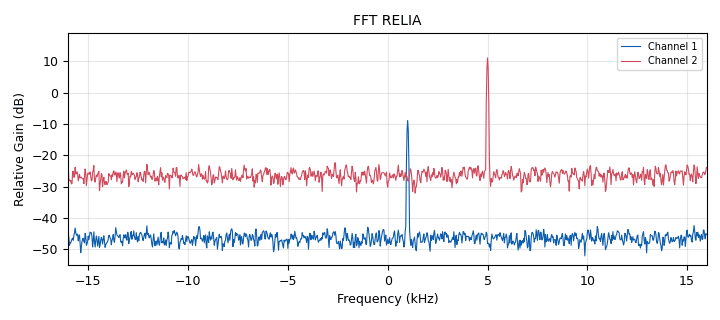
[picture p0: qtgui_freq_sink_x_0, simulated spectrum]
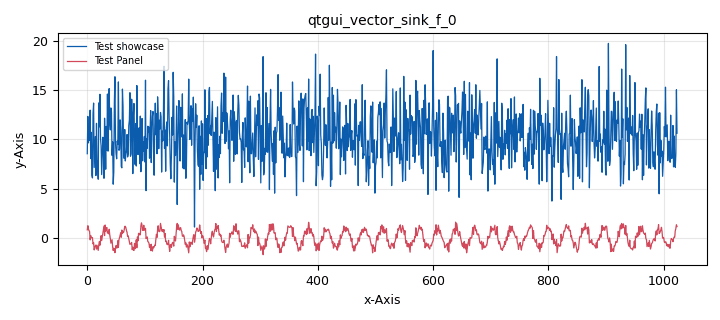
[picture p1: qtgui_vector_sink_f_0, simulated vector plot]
options:
  parameters:
    author: marcos
    generate_options: qt_gui
    id: default
    output_language: python
    title: Not titled yet
  states: {}

blocks:
- name: samp_rate
  id: variable
  parameters:
    value: '32000'
  states: {}
- name: analog_noise_source_x_0
  id: analog_noise_source_x
  parameters:
    amp: '.4'
    noise_type: analog.GR_GAUSSIAN
    seed: '0'
    type: complex
  states: {}
- name: analog_sig_source_x_0
  id: analog_sig_source_x
  parameters:
    amp: '1'
    freq: '1000'
    offset: '0'
    phase: '0'
    samp_rate: samp_rate
    type: complex
    waveform: analog.GR_COS_WAVE
  states: {}
- name: analog_sig_source_x_1
  id: analog_sig_source_x
  parameters:
    amp: '1'
    freq: '5000'
    offset: '0'
    phase: '0'
    samp_rate: samp_rate
    type: complex
    waveform: analog.GR_COS_WAVE
  states: {}
- name: blocks_add_xx_0
  id: blocks_add_xx
  parameters:
    type: complex
  states: {}
- name: blocks_add_xx_0_0
  id: blocks_add_xx
  parameters:
    type: complex
  states: {}
- name: blocks_complex_to_float_0
  id: blocks_complex_to_float
  parameters: {}
  states: {}
- name: blocks_complex_to_mag_0
  id: blocks_complex_to_mag
  parameters: {}
  states: {}
- name: blocks_delay_0
  id: blocks_delay
  parameters:
    delay: '45'
    type: complex
  states: {}
- name: blocks_delay_0_0
  id: blocks_delay
  parameters:
    delay: '180'
    type: complex
  states: {}
- name: blocks_multiply_const_vxx_0
  id: blocks_multiply_const_vxx
  parameters:
    const: '10'
    type: complex
  states: {}
- name: blocks_stream_to_vector_0
  id: blocks_stream_to_vector
  parameters:
    num_items: '1024'
    type: float
  states: {}
- name: blocks_stream_to_vector_0_0
  id: blocks_stream_to_vector
  parameters:
    num_items: '1024'
    type: float
  states: {}
- name: blocks_throttle_0
  id: blocks_throttle
  parameters:
    samples_per_second: samp_rate
    type: complex
  states: {}
- name: blocks_throttle_0_0
  id: blocks_throttle
  parameters:
    samples_per_second: samp_rate
    type: complex
  states: {}
- name: qtgui_const_sink_x_0
  id: qtgui_const_sink_x
  parameters:
    autoscale: 'True'
    grid: 'True'
    label1: signal 1
    label2: signal 2
    nconnections: '2'
    size: '1024'
    type: complex
  states: {state: disabled}
- name: qtgui_freq_sink_x_0
  id: qtgui_freq_sink_x
  parameters:
    autoscale: 'True'
    average: '0.1'
    bw: samp_rate
    color1: '"dark blue"'
    fc: '0'
    fftsize: '1024'
    label1: Channel 1
    label2: Channel 2
    name: FFT RELIA
    nconnections: '2'
    type: complex
    ymax: '80'
    ymin: '-10'
  states: {}
- name: qtgui_time_sink_x_0
  id: qtgui_time_sink_x
  parameters:
    autoscale: 'True'
    color1: green
    color2: dark blue
    color3: blue
    color4: red
    color5: dark green
    grid: 'True'
    label1: Signal 1 - I
    label2: Signal 1 - Q
    label3: Signal 2 - I
    label4: Signal 2 - Q
    label5: Signal 3 - I
    label6: Signal 3 - Q
    marker1: '3'
    marker2: '1'
    name: RELIA FULL PARAMETERS
    nconnections: '3'
    size: '1024'
    srate: samp_rate
    style2: '2'
    style3: '2'
    style4: '2'
    style5: '2'
    type: complex
    width2: '2'
    ymax: '2'
    ymin: '-2'
    yunit: Voltage
  states: {state: disabled}
- name: qtgui_vector_sink_f_0
  id: qtgui_vector_sink_f
  parameters:
    autoscale: 'True'
    average: '0.05'
    label1: Test showcase
    label2: Test Panel
    nconnections: '2'
    vlen: '1024'
    x_start: '0'
    x_step: '1.0'
  states: {}

connections:
- [analog_noise_source_x_0, '0', blocks_add_xx_0, '1']
- [analog_noise_source_x_0, '0', blocks_add_xx_0_0, '0']
- [analog_noise_source_x_0, '0', qtgui_time_sink_x_0, '0']
- [analog_sig_source_x_0, '0', blocks_add_xx_0, '0']
- [analog_sig_source_x_1, '0', blocks_add_xx_0_0, '1']
- [blocks_add_xx_0, '0', blocks_throttle_0, '0']
- [blocks_add_xx_0_0, '0', blocks_throttle_0_0, '0']
- [blocks_complex_to_float_0, '0', blocks_stream_to_vector_0_0, '0']
- [blocks_complex_to_mag_0, '0', blocks_stream_to_vector_0, '0']
- [blocks_delay_0, '0', qtgui_const_sink_x_0, '0']
- [blocks_delay_0, '0', qtgui_freq_sink_x_0, '0']
- [blocks_delay_0, '0', qtgui_time_sink_x_0, '1']
- [blocks_delay_0_0, '0', qtgui_const_sink_x_0, '1']
- [blocks_delay_0_0, '0', qtgui_freq_sink_x_0, '1']
- [blocks_delay_0_0, '0', qtgui_time_sink_x_0, '2']
- [blocks_multiply_const_vxx_0, '0', blocks_complex_to_mag_0, '0']
- [blocks_multiply_const_vxx_0, '0', blocks_delay_0_0, '0']
- [blocks_stream_to_vector_0, '0', qtgui_vector_sink_f_0, '0']
- [blocks_stream_to_vector_0_0, '0', qtgui_vector_sink_f_0, '1']
- [blocks_throttle_0, '0', blocks_complex_to_float_0, '0']
- [blocks_throttle_0, '0', blocks_delay_0, '0']
- [blocks_throttle_0_0, '0', blocks_multiply_const_vxx_0, '0']

metadata:
  file_format: 1
  grc_version: 3.10.4.0
